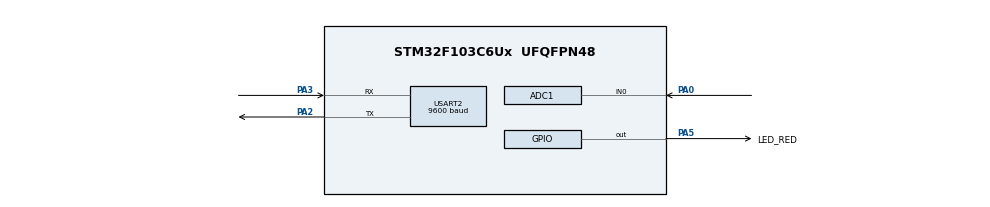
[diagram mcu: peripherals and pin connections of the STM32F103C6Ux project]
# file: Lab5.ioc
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ADC1.Channel-2\#ChannelRegularConversion=ADC_CHANNEL_0
ADC1.ContinuousConvMode=ENABLE
ADC1.NbrOfConversionFlag=1
ADC1.Rank-2\#ChannelRegularConversion=1
ADC1.SamplingTime-2\#ChannelRegularConversion=ADC_SAMPLETIME_1CYCLE_5
ADC1.master=1
Mcu.Family=STM32F1
Mcu.Name=STM32F103C6Ux
Mcu.Package=UFQFPN48
NVIC.PriorityGroup=NVIC_PRIORITYGROUP_4
NVIC.USART2_IRQn=true\:0\:0\:false\:false\:true\:true\:true
PA0-WKUP.Signal=ADCx_IN0
PA2.Mode=Asynchronous
PA2.Signal=USART2_TX
PA3.Mode=Asynchronous
PA3.Signal=USART2_RX
PA5.GPIO_Label=LED_RED
PA5.Signal=GPIO_Output
ProjectManager.HeapSize=0x200
ProjectManager.StackSize=0x400
ProjectManager.TargetToolchain=STM32CubeIDE
RCC.APB1Freq_Value=8000000
RCC.APB2Freq_Value=8000000
SH.ADCx_IN0.0=ADC1_IN0,IN0
USART2.BaudRate=9600
USART2.VirtualMode=VM_ASYNC
VP_SYS_VS_ND.Mode=No_Debug
board=custom

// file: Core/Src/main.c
/* USER CODE BEGIN Header */
/**
  ******************************************************************************
  * @file           : main.c
  * @brief          : Main program body
  ******************************************************************************
  * @attention
  *
  * <h2><center>&copy; Copyright (c) 2022 STMicroelectronics.
  * All rights reserved.</center></h2>
  *
  * This software component is licensed by ST under BSD 3-Clause license,
  * the "License"; You may not use this file except in compliance with the
  * License. You may obtain a copy of the License at:
  *                        opensource.org/licenses/BSD-3-Clause
  *
  ******************************************************************************
  */
/* USER CODE END Header */
#include "main.h"

/* USER CODE BEGIN Includes */
#include "stdio.h"
#include <string.h>
/* USER CODE END Includes */

ADC_HandleTypeDef hadc1;

UART_HandleTypeDef huart2;

void SystemClock_Config(void);
static void MX_GPIO_Init(void);
static void MX_ADC1_Init(void);
static void MX_USART2_UART_Init(void);

/* USER CODE BEGIN 0 */
#define MAX_BUFFER_SIZE  30
uint8_t temp = 0;
uint8_t buffer[MAX_BUFFER_SIZE];
uint8_t index_buffer = 0;
uint8_t buffer_flag = 0;
uint8_t command_flag = 0;
uint8_t str1[]="2048 \r\n";
void HAL_UART_RxCpltCallback(UART_HandleTypeDef *huart){
	if(huart->Instance == USART2){

		HAL_UART_Transmit(&huart2, &temp, 1, 50);
		buffer[index_buffer++] = temp;
		if(index_buffer == 30) index_buffer = 0;

		buffer_flag = 1;
		HAL_UART_Receive_IT(&huart2, &temp, 1);
	}
}
void command_parser_fsm(){
	if(strstr((char *)buffer,"RST") != NULL){
		command_flag = 1;
		for(int i=0;i<index_buffer;i++)
		{
		    buffer[i] = 0;
		}
		index_buffer = 0;

	}
	if(strstr((char *)buffer,"OK") != NULL){
		command_flag = 0;
		for(int i=0;i<index_buffer;i++)
		{
		    buffer[i] = 0;
		}
		index_buffer = 0;
	}

}
void uart_communiation_fsm(){
	if(command_flag == 1){
		HAL_UART_Transmit(&huart2 ,str1 ,sizeof(str1) , 50);
		HAL_Delay(3000);
	}
}
/* USER CODE END 0 */

int main(void)
{

  /* MCU Configuration--------------------------------------------------------*/

  /* Reset of all peripherals, Initializes the Flash interface and the Systick. */
  HAL_Init();

  /* Configure the system clock */
  SystemClock_Config();

  /* Initialize all configured peripherals */
  MX_GPIO_Init();
  MX_ADC1_Init();
  MX_USART2_UART_Init();

  /* Infinite loop */
  /* USER CODE BEGIN WHILE */
  HAL_UART_Receive_IT(&huart2, &temp, 1);

  while (1)
  {
	  if(buffer_flag == 1){
		  command_parser_fsm();
		  buffer_flag = 0;
	  }
	  uart_communiation_fsm();

	  HAL_GPIO_TogglePin(LED_RED_GPIO_Port, LED_RED_Pin);

    /* USER CODE END WHILE */

  }
}

void SystemClock_Config(void)
{
  RCC_OscInitTypeDef RCC_OscInitStruct = {0};
  RCC_ClkInitTypeDef RCC_ClkInitStruct = {0};
  RCC_PeriphCLKInitTypeDef PeriphClkInit = {0};

  /** Initializes the RCC Oscillators according to the specified parameters
  * in the RCC_OscInitTypeDef structure.
  */
  RCC_OscInitStruct.OscillatorType = RCC_OSCILLATORTYPE_HSI;
  RCC_OscInitStruct.HSIState = RCC_HSI_ON;
  RCC_OscInitStruct.HSICalibrationValue = RCC_HSICALIBRATION_DEFAULT;
  RCC_OscInitStruct.PLL.PLLState = RCC_PLL_NONE;
  if (HAL_RCC_OscConfig(&RCC_OscInitStruct) != HAL_OK)
  {
    Error_Handler();
  }
  /** Initializes the CPU, AHB and APB buses clocks
  */
  RCC_ClkInitStruct.ClockType = RCC_CLOCKTYPE_HCLK|RCC_CLOCKTYPE_SYSCLK
                              |RCC_CLOCKTYPE_PCLK1|RCC_CLOCKTYPE_PCLK2;
  RCC_ClkInitStruct.SYSCLKSource = RCC_SYSCLKSOURCE_HSI;
  RCC_ClkInitStruct.AHBCLKDivider = RCC_SYSCLK_DIV1;
  RCC_ClkInitStruct.APB1CLKDivider = RCC_HCLK_DIV1;
  RCC_ClkInitStruct.APB2CLKDivider = RCC_HCLK_DIV1;

  if (HAL_RCC_ClockConfig(&RCC_ClkInitStruct, FLASH_LATENCY_0) != HAL_OK)
  {
    Error_Handler();
  }
  PeriphClkInit.PeriphClockSelection = RCC_PERIPHCLK_ADC;
  PeriphClkInit.AdcClockSelection = RCC_ADCPCLK2_DIV2;
  if (HAL_RCCEx_PeriphCLKConfig(&PeriphClkInit) != HAL_OK)
  {
    Error_Handler();
  }
}

static void MX_ADC1_Init(void)
{

  ADC_ChannelConfTypeDef sConfig = {0};

  /** Common config
  */
  hadc1.Instance = ADC1;
  hadc1.Init.ScanConvMode = ADC_SCAN_DISABLE;
  hadc1.Init.ContinuousConvMode = ENABLE;
  hadc1.Init.DiscontinuousConvMode = DISABLE;
  hadc1.Init.ExternalTrigConv = ADC_SOFTWARE_START;
  hadc1.Init.DataAlign = ADC_DATAALIGN_RIGHT;
  hadc1.Init.NbrOfConversion = 1;
  if (HAL_ADC_Init(&hadc1) != HAL_OK)
  {
    Error_Handler();
  }
  /** Configure Regular Channel
  */
  sConfig.Channel = ADC_CHANNEL_0;
  sConfig.Rank = ADC_REGULAR_RANK_1;
  sConfig.SamplingTime = ADC_SAMPLETIME_1CYCLE_5;
  if (HAL_ADC_ConfigChannel(&hadc1, &sConfig) != HAL_OK)
  {
    Error_Handler();
  }

}

static void MX_USART2_UART_Init(void)
{

  huart2.Instance = USART2;
  huart2.Init.BaudRate = 9600;
  huart2.Init.WordLength = UART_WORDLENGTH_8B;
  huart2.Init.StopBits = UART_STOPBITS_1;
  huart2.Init.Parity = UART_PARITY_NONE;
  huart2.Init.Mode = UART_MODE_TX_RX;
  huart2.Init.HwFlowCtl = UART_HWCONTROL_NONE;
  huart2.Init.OverSampling = UART_OVERSAMPLING_16;
  if (HAL_UART_Init(&huart2) != HAL_OK)
  {
    Error_Handler();
  }

}

static void MX_GPIO_Init(void)
{
  GPIO_InitTypeDef GPIO_InitStruct = {0};

  /* GPIO Ports Clock Enable */
  __HAL_RCC_GPIOA_CLK_ENABLE();

  /*Configure GPIO pin Output Level */
  HAL_GPIO_WritePin(LED_RED_GPIO_Port, LED_RED_Pin, GPIO_PIN_RESET);

  /*Configure GPIO pin : LED_RED_Pin */
  GPIO_InitStruct.Pin = LED_RED_Pin;
  GPIO_InitStruct.Mode = GPIO_MODE_OUTPUT_PP;
  GPIO_InitStruct.Pull = GPIO_NOPULL;
  GPIO_InitStruct.Speed = GPIO_SPEED_FREQ_LOW;
  HAL_GPIO_Init(LED_RED_GPIO_Port, &GPIO_InitStruct);

}

void Error_Handler(void)
{
  __disable_irq();
  while (1)
  {
  }
}

/************************ (C) COPYRIGHT STMicroelectronics *****END OF FILE****/
